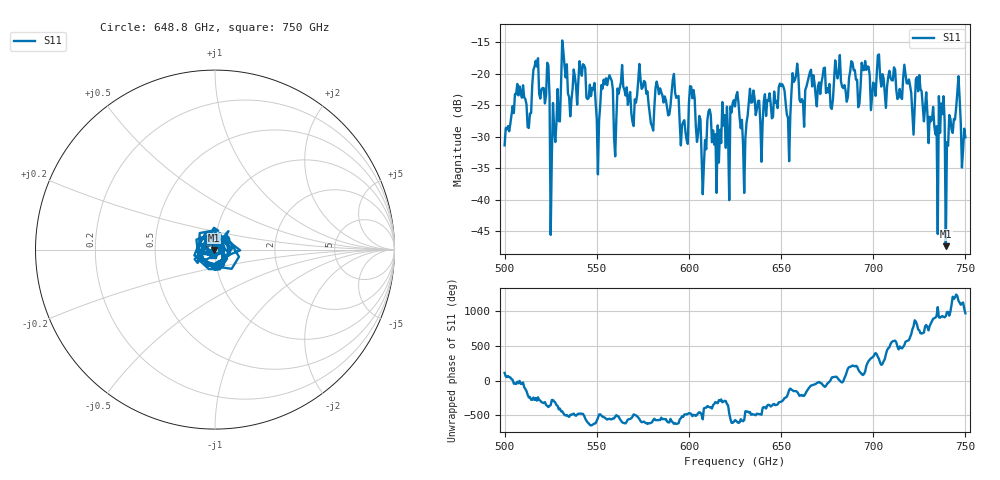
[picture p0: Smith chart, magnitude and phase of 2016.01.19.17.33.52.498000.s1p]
!Created with skrf (http://scikit-rf.org).
# GHz S RI R 50.0
!freq ReS11 ImS11
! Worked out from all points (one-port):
!   401 points, 500 GHz to 750 GHz, reference 50 ohm
!   lowest |S11| = -47.3 dB at 739.4 GHz (marker M1), VSWR 1.01, Z = 49.6 - j0.224 ohm
!   |S11| at or under -10 dB: start of sweep to end of sweep
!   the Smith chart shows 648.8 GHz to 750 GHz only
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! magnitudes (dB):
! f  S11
! 500 GHz  -31.4
! 506.9 GHz  -21.6
! 513.1 GHz  -28.6
! 516.9 GHz  -18.0
! 523.1 GHz  -18.3
! 526.2 GHz  -24.7
! 531.2 GHz  -14.8
! 542.5 GHz  -18.5
! 550.6 GHz  -36.0
! 562.5 GHz  -22.2
! 593.8 GHz  -23.7
! 598.1 GHz  -29.3
! 601.9 GHz  -23.9
! 608.1 GHz  -34.6
! 610.6 GHz  -26.0
! 625 GHz  -25.2
! 629.4 GHz  -31.3
! 633.8 GHz  -24.6
! 650.6 GHz  -21.7
! 653.8 GHz  -27.0
! 656.2 GHz  -19.9
! 687.5 GHz  -19.6
! 718.8 GHz  -21.6
! 733.8 GHz  -29.6
! 736.9 GHz  -24.7
! 739.4 GHz  -47.3
! 745.6 GHz  -23.0
! 750 GHz  -30.1
